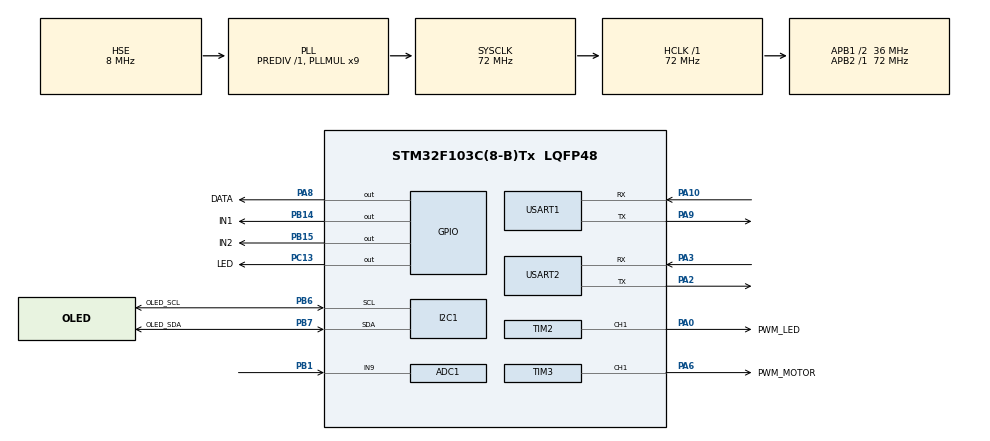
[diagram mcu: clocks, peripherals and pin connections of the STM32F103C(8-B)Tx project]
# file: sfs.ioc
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ADC1.Channel-1\#ChannelRegularConversion=ADC_CHANNEL_9
ADC1.ContinuousConvMode=ENABLE
ADC1.NbrOfConversion=1
ADC1.NbrOfConversionFlag=1
ADC1.Rank-1\#ChannelRegularConversion=1
ADC1.SamplingTime-1\#ChannelRegularConversion=ADC_SAMPLETIME_239CYCLES_5
ADC1.master=1
Dma.ADC1.0.Direction=DMA_PERIPH_TO_MEMORY
Dma.ADC1.0.Instance=DMA1_Channel1
Dma.ADC1.0.MemDataAlignment=DMA_MDATAALIGN_WORD
Dma.ADC1.0.MemInc=DMA_MINC_ENABLE
Dma.ADC1.0.Mode=DMA_CIRCULAR
Dma.ADC1.0.PeriphDataAlignment=DMA_PDATAALIGN_WORD
Dma.ADC1.0.PeriphInc=DMA_PINC_DISABLE
Dma.ADC1.0.Priority=DMA_PRIORITY_VERY_HIGH
Dma.Request0=ADC1
Mcu.Family=STM32F1
Mcu.Name=STM32F103C(8-B)Tx
Mcu.Package=LQFP48
NVIC.DMA1_Channel1_IRQn=true\:0\:0\:false\:false\:true\:false\:true\:true
NVIC.PriorityGroup=NVIC_PRIORITYGROUP_4
NVIC.TIM1_UP_IRQn=true\:1\:0\:true\:false\:true\:true\:true\:true
NVIC.USART2_IRQn=true\:2\:0\:true\:false\:true\:true\:true\:true
PA0-WKUP.GPIO_Label=PWM_LED
PA0-WKUP.Signal=S_TIM2_CH1_ETR
PA10.Mode=Asynchronous
PA10.Signal=USART1_RX
PA13.Mode=Serial_Wire
PA13.Signal=SYS_JTMS-SWDIO
PA14.Mode=Serial_Wire
PA14.Signal=SYS_JTCK-SWCLK
PA2.Mode=Asynchronous
PA2.Signal=USART2_TX
PA3.Mode=Asynchronous
PA3.Signal=USART2_RX
PA6.GPIO_Label=PWM_MOTOR
PA6.Signal=S_TIM3_CH1
PA8.GPIO_Label=DATA
PA8.GPIO_PuPd=GPIO_PULLUP
PA8.GPIO_Speed=GPIO_SPEED_FREQ_HIGH
PA8.PinState=GPIO_PIN_RESET
PA8.Signal=GPIO_Output
PA9.Mode=Asynchronous
PA9.Signal=USART1_TX
PB1.Signal=ADCx_IN9
PB14.GPIO_Label=IN1
PB14.PinState=GPIO_PIN_SET
PB14.Signal=GPIO_Output
PB15.GPIO_Label=IN2
PB15.Signal=GPIO_Output
PB6.GPIO_Label=OLED_SCL
PB6.Mode=I2C
PB6.Signal=I2C1_SCL
PB7.GPIO_Label=OLED_SDA
PB7.Mode=I2C
PB7.Signal=I2C1_SDA
PC13-TAMPER-RTC.GPIO_Label=LED
PC13-TAMPER-RTC.Signal=GPIO_Output
PC14-OSC32_IN.Mode=LSE-External-Oscillator
PC14-OSC32_IN.Signal=RCC_OSC32_IN
PC15-OSC32_OUT.Mode=LSE-External-Oscillator
PC15-OSC32_OUT.Signal=RCC_OSC32_OUT
PD0-OSC_IN.Mode=HSE-External-Oscillator
PD0-OSC_IN.Signal=RCC_OSC_IN
PD1-OSC_OUT.Mode=HSE-External-Oscillator
PD1-OSC_OUT.Signal=RCC_OSC_OUT
ProjectManager.HeapSize=0x200
ProjectManager.StackSize=0x400
ProjectManager.TargetToolchain=MDK-ARM V5
RCC.ADCPresc=RCC_ADCPCLK2_DIV6
RCC.AHBFreq_Value=72000000
RCC.APB1CLKDivider=RCC_HCLK_DIV2
RCC.APB1Freq_Value=36000000
RCC.APB1TimFreq_Value=72000000
RCC.APB2Freq_Value=72000000
RCC.APB2TimFreq_Value=72000000
RCC.HCLKFreq_Value=72000000
RCC.PLLMUL=RCC_PLL_MUL9
RCC.PLLSourceVirtual=RCC_PLLSOURCE_HSE
RCC.SYSCLKFreq_VALUE=72000000
RCC.SYSCLKSource=RCC_SYSCLKSOURCE_PLLCLK
RCC.USBFreq_Value=72000000
SH.ADCx_IN9.0=ADC1_IN9,IN9
SH.S_TIM2_CH1_ETR.0=TIM2_CH1,PWM Generation1 CH1
SH.S_TIM3_CH1.0=TIM3_CH1,PWM Generation1 CH1
TIM1.AutoReloadPreload=TIM_AUTORELOAD_PRELOAD_ENABLE
TIM1.Period=10000-1
TIM1.Prescaler=72-1
TIM2.Channel-PWM\ Generation1\ CH1=TIM_CHANNEL_1
TIM2.Period=900-1
TIM2.Prescaler=0
TIM2.Pulse-PWM\ Generation1\ CH1=150
TIM3.Channel-PWM\ Generation1\ CH1=TIM_CHANNEL_1
TIM3.Period=100-1
TIM3.Prescaler=72-1
TIM3.Pulse-PWM\ Generation1\ CH1=50
TIM4.Prescaler=72-1
USART1.VirtualMode=VM_ASYNC
USART2.VirtualMode=VM_ASYNC
VP_TIM1_VS_ClockSourceINT.Mode=Internal
VP_TIM2_VS_ClockSourceINT.Mode=Internal
VP_TIM3_VS_ClockSourceINT.Mode=Internal
VP_TIM4_VS_ClockSourceINT.Mode=Internal
board=custom

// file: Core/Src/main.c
/* USER CODE BEGIN Header */
/**
 ******************************************************************************
 * @file           : main.c
 * @brief          : Main program body
 ******************************************************************************
 * @attention
 *
 * Copyright (c) 2024 STMicroelectronics.
 * All rights reserved.
 *
 * This software is licensed under terms that can be found in the LICENSE file
 * in the root directory of this software component.
 * If no LICENSE file comes with this software, it is provided AS-IS.
 *
 ******************************************************************************
 */
/* USER CODE END Header */
#include "main.h"
#include "adc.h"
#include "dma.h"
#include "i2c.h"
#include "tim.h"
#include "usart.h"
#include "gpio.h"

/* USER CODE BEGIN Includes */
#include "oled.h"
#include "stdio.h"
#include "string.h"
#include "dht11.h"
/* USER CODE END Includes */

/* USER CODE BEGIN PV */
char oledString[30];
volatile uint32_t adcBuffer[ADC_AVERAGE_COUNT];
float ADC_Value = 0.0;
float temperature = 0.0;
float voltage = 0.0;
extern DH11_DATA DH11_data;
int tim1Count = 0;

uint8_t Uart1RxBuff;         // 进入中断接收数据的数�?
uint8_t Uart1DataBuff[5000]; // 保存接收到的数据的数�?
int Rx1Line = 0;             // 接收到的数据长度

float PWM_FAN = 0;
/* USER CODE END PV */

void SystemClock_Config(void);

int main(void)
{

  /* MCU Configuration--------------------------------------------------------*/

  /* Reset of all peripherals, Initializes the Flash interface and the Systick. */
  HAL_Init();

  /* Configure the system clock */
  SystemClock_Config();

  /* Initialize all configured peripherals */
  MX_GPIO_Init();
  MX_DMA_Init();
  MX_ADC1_Init();
  MX_TIM1_Init();
  MX_TIM2_Init();
  MX_I2C1_Init();
  MX_TIM3_Init();
  MX_TIM4_Init();
  MX_USART1_UART_Init();
  MX_USART2_UART_Init();
  /* USER CODE BEGIN 2 */
  OLED_Init(); // 初始化OLED
  OLED_Clear();
  HAL_Delay(1000);
  HAL_TIM_Base_Start_IT(&htim1);
  HAL_UART_Receive_IT(&huart2, &Uart1RxBuff, 1); // 串口1接收中断
  HAL_TIM_PWM_Start(&htim2, TIM_CHANNEL_1);
  HAL_TIM_PWM_Start(&htim3, TIM_CHANNEL_1);
  HAL_ADC_Start_DMA(&hadc1, (uint32_t *)adcBuffer, ADC_AVERAGE_COUNT);
  /* USER CODE END 2 */

  /* Infinite loop */
  /* USER CODE BEGIN WHILE */
  while (1)
  {
    OLEDShow();
    /* USER CODE END WHILE */

  }
}

void SystemClock_Config(void)
{
  RCC_OscInitTypeDef RCC_OscInitStruct = {0};
  RCC_ClkInitTypeDef RCC_ClkInitStruct = {0};
  RCC_PeriphCLKInitTypeDef PeriphClkInit = {0};

  /** Initializes the RCC Oscillators according to the specified parameters
  * in the RCC_OscInitTypeDef structure.
  */
  RCC_OscInitStruct.OscillatorType = RCC_OSCILLATORTYPE_HSE;
  RCC_OscInitStruct.HSEState = RCC_HSE_ON;
  RCC_OscInitStruct.HSEPredivValue = RCC_HSE_PREDIV_DIV1;
  RCC_OscInitStruct.HSIState = RCC_HSI_ON;
  RCC_OscInitStruct.PLL.PLLState = RCC_PLL_ON;
  RCC_OscInitStruct.PLL.PLLSource = RCC_PLLSOURCE_HSE;
  RCC_OscInitStruct.PLL.PLLMUL = RCC_PLL_MUL9;
  if (HAL_RCC_OscConfig(&RCC_OscInitStruct) != HAL_OK)
  {
    Error_Handler();
  }

  /** Initializes the CPU, AHB and APB buses clocks
  */
  RCC_ClkInitStruct.ClockType = RCC_CLOCKTYPE_HCLK|RCC_CLOCKTYPE_SYSCLK
                              |RCC_CLOCKTYPE_PCLK1|RCC_CLOCKTYPE_PCLK2;
  RCC_ClkInitStruct.SYSCLKSource = RCC_SYSCLKSOURCE_PLLCLK;
  RCC_ClkInitStruct.AHBCLKDivider = RCC_SYSCLK_DIV1;
  RCC_ClkInitStruct.APB1CLKDivider = RCC_HCLK_DIV2;
  RCC_ClkInitStruct.APB2CLKDivider = RCC_HCLK_DIV1;

  if (HAL_RCC_ClockConfig(&RCC_ClkInitStruct, FLASH_LATENCY_2) != HAL_OK)
  {
    Error_Handler();
  }
  PeriphClkInit.PeriphClockSelection = RCC_PERIPHCLK_ADC;
  PeriphClkInit.AdcClockSelection = RCC_ADCPCLK2_DIV6;
  if (HAL_RCCEx_PeriphCLKConfig(&PeriphClkInit) != HAL_OK)
  {
    Error_Handler();
  }
}

/* USER CODE BEGIN 4 */
void HAL_TIM_PeriodElapsedCallback(TIM_HandleTypeDef *htim)
{
  tim1Count++;
  if (htim == &htim1) // htim1 100Hz 10ms
  {
    adjustBrightness();
    __HAL_TIM_SET_COMPARE(&htim3, TIM_CHANNEL_1, (int)PWM_FAN);
    if (tim1Count > 5)
    {
      DH11_Task();
      tim1Count = 0;
    }
    printf("data:%.1f,%.1f,%.1f\n", DH11_data.temp, DH11_data.humidity, voltage * 100.0 / 500.0);
  }
}

void OLEDShow()
{
  sprintf(oledString, "voltage:%3.0fmV  ", voltage);
  OLED_ShowString(0, 0, (char *)oledString, 16, 0);
  sprintf(oledString, "temp:%2.1fC ", DH11_data.temp);
  OLED_ShowString(0, 2, (char *)oledString, 16, 0);
  sprintf(oledString, "humidity:%2.0f%%  ", DH11_data.humidity);
  OLED_ShowString(0, 4, (char *)oledString, 16, 0);
}

void adjustBrightness()
{
  float PWM = 0.0;
  if (voltage < 100)
    PWM = 10;
  else
    PWM = 2.54286 * voltage - 244.286;

  __HAL_TIM_SET_COMPARE(&htim2, TIM_CHANNEL_1, (int)PWM);
}
/* USER CODE END 4 */

void Error_Handler(void)
{
  __disable_irq();
  while (1)
  {
  }
}
